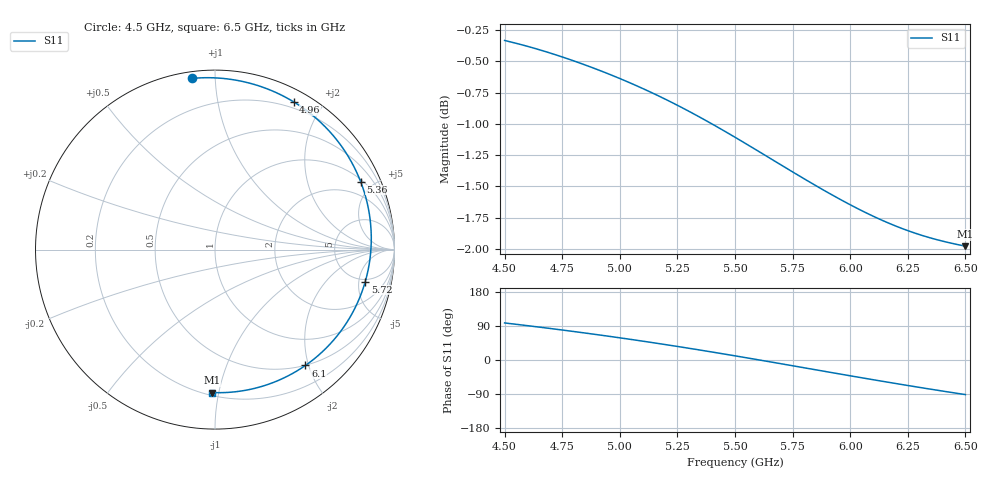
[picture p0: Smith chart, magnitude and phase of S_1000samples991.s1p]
! TOUCHSTONE file generated by CST MICROWAVE STUDIO
! Date and time: Sun Oct 30 00:44:30 2022
! Project name: L.cst
! Parameters = {Di=1.27; Epsilon_r=1.56; InnerDiameter=1.27; Length=2; Lf=10; Lg=60; OuterConductorThickness=0.2921; OuterDiameter=3.6; Wf=3; Wp=41.2; de=1.5; df=6.8; g=0.8; gx=4.99938; gy=4.30924; h=2.34; hf=1.524; px=12.1131; py=11.0673; w=9.7; wx=7.1137; wy=6.75809}
! Header version: 2018
! Port assignment regex: !\s*Touchstone port\s*([0-9]+)\s*=\s*(CST MWS port|CST DS port)\s*([0-9]+|Zmin|Zmax)\s*\(\"(.*)\"\)(\s*mode\s*([0-9]+))?.*
! Touchstone port assignment:
! Touchstone port 1 = CST MWS port 1 ("")
# GHz S DB R 50
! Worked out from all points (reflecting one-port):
!   101 points, 4.5 GHz to 6.5 GHz, reference 50 ohm
!   lowest |S11| = -2.0 dB at 6.5 GHz (marker M1), VSWR 8.82, Z = 11 - j47.7 ohm
!   phase of S11 starts at 98 deg and turns -189 deg over the sweep
!   S11 on the Smith chart (normalised r, x): 4.5 GHz: 0.03, +0.87; 4.96 GHz: 0.13, +1.66; 5.36 GHz: 1.10, +4.22; 5.72 GHz: 4.59, -6.12; 6.1 GHz: 0.50, -1.95; 6.5 GHz: 0.22, -0.95
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4.5  -0.33 97.8
4.58  -0.37 92.0
4.64  -0.40 87.6
4.76  -0.47 78.3
4.86  -0.54 70.3
4.96  -0.61 62.0
5  -0.64 58.5
5.06  -0.68 53.3
5.12  -0.73 47.9
5.18  -0.79 42.3
5.26  -0.86 34.8
5.36  -0.96 25.1
5.44  -1.04 17.1
5.5  -1.11 11.0
5.6  -1.22 0.6
5.66  -1.28 -5.7
5.72  -1.35 -12.0
5.76  -1.39 -16.2
5.82  -1.46 -22.6
5.88  -1.52 -29.0
6  -1.65 -41.7
6.1  -1.74 -52.1
6.18  -1.80 -60.2
6.26  -1.86 -68.3
6.32  -1.90 -74.2
6.38  -1.93 -80.0
6.44  -1.95 -85.7
6.5  -1.98 -91.3
